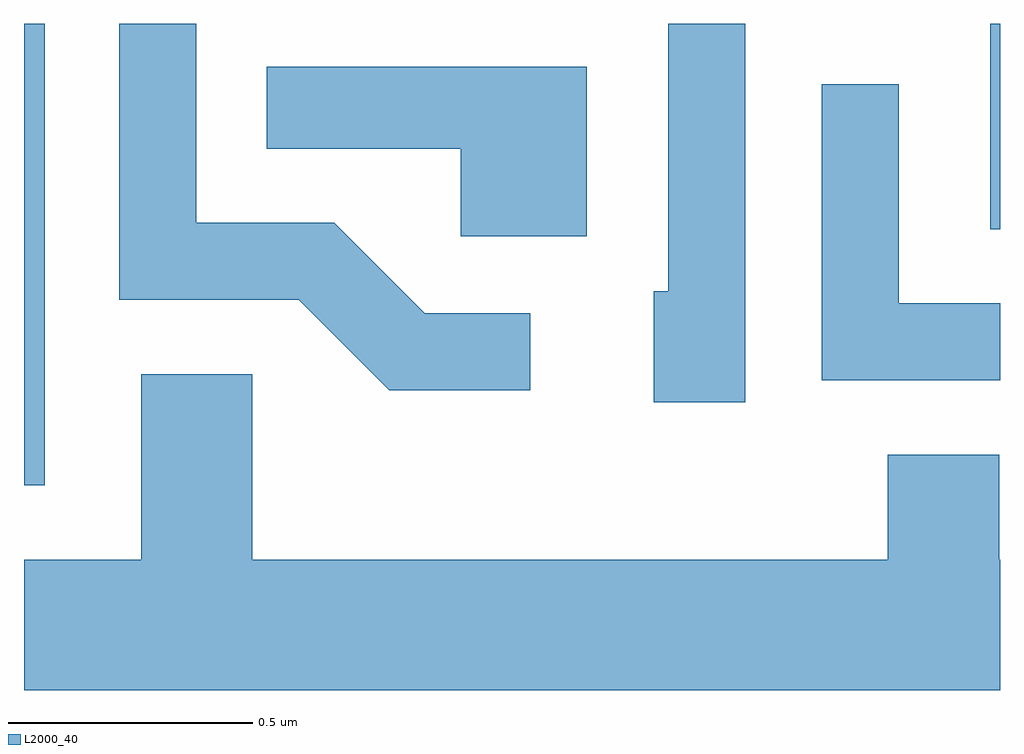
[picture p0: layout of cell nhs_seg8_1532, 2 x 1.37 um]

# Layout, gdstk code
import gdstk
lib = gdstk.Library(unit=1e-6, precision=1e-09)
def R(c, l, rs):  # rectangles x0, y0, x1, y1
    for r in rs: c.add(gdstk.rectangle(r[:2], r[2:], *l))
def P(c, l, *ps):  # polygons
    for p in ps: c.add(gdstk.Polygon(p, *l))
L2000_40 = (2000, 40)

nhs_seg8_1532 = lib.new_cell('nhs_seg8_1532')
R(nhs_seg8_1532, L2000_40, [(196.611,1832.396,196.654,1833.342), (198.591,1832.921,198.611,1833.342)])
P(nhs_seg8_1532, L2000_40, [(198.089,1833.342),(197.931,1833.342),(197.931,1832.794),(197.901,1832.794),(197.901,1832.566),(198.089,1832.566)],
  [(197.648,1832.749),(197.432,1832.749),(197.247,1832.934),(196.964,1832.934),(196.964,1833.342),(196.806,1833.342),(196.806,1832.776),(197.174,1832.776),(197.359,1832.591),(197.648,1832.591)],
  [(197.764,1833.254),(197.108,1833.254),(197.108,1833.086),(197.506,1833.086),(197.506,1832.906),(197.764,1832.906)],
  [(198.611,1832.769),(198.404,1832.769),(198.404,1833.218),(198.246,1833.218),(198.246,1832.611),(198.611,1832.611)],
  [(198.611,1832.244),(198.609,1832.244),(198.609,1832.459),(198.381,1832.459),(198.381,1832.244),(197.079,1832.244),(197.079,1832.624),(196.851,1832.624),(196.851,1832.244),(196.611,1832.244),(196.611,1831.976),(198.611,1831.976)])

lib.write_gds('nhs_seg8_1532.gds')
